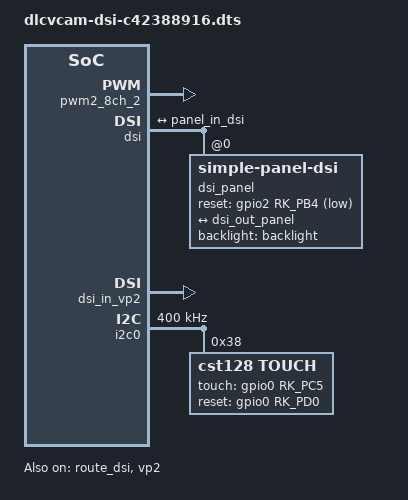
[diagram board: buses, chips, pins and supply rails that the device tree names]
/********************************************************************
 * SPDX-License-Identifier: (GPL-2.0+ OR MIT)
 * 
 * Copyright (c) 2023 Rockchip Electronics Co., Ltd.
 * Copyright (c) 2026 LCKFB <lckfb@sz-jlc.com>
 *********************************************************************
 * Wiki (Chinese): https://wiki.lckfb.com/
 * Wiki (English): https://wiki.lckfb.com/en/
 *********************************************************************/
/dts-v1/;
/plugin/;

#include <dt-bindings/usb/pd.h>
#include <dt-bindings/gpio/gpio.h>
#include <dt-bindings/pwm/pwm.h>
#include <dt-bindings/pinctrl/rockchip.h>
#include <dt-bindings/input/linux-event-codes.h>
#include <dt-bindings/display/drm_mipi_dsi.h>
#include <dt-bindings/display/rockchip_vop.h>
#include <dt-bindings/sensor-dev.h>
#include <dt-bindings/interrupt-controller/irq.h>

/ {
/*-----------------------------------------------------------
 * PWM controller node
 * pwm2_8ch_2: Multi-channel PWM, backlight control
 * status: enable
 * pinctrl-0: Bind PWM output pins
 *-----------------------------------------------------------*/
	fragment@0 {
		target = <&pwm2_8ch_2>;
		
		__overlay__ {
			status = "okay";
			pinctrl-0 = <&pwm2m3_ch2>;
		};
	};

/*-----------------------------------------------------------
 * MIPI DSI display interface main node
 *-----------------------------------------------------------*/
	fragment@1 {
		target = <&dsi>;
		
		__overlay__ {

			status = "okay";
			// rockchip,lane-rate = <500>;
			dsi_panel: panel@0 {
				status = "okay";
				compatible = "simple-panel-dsi";
				reg = <0>;
				backlight = <&backlight>;
				// power-supply = <&mipi_dsi_power>;
				reset-gpios = <&gpio2 RK_PB4 GPIO_ACTIVE_LOW>;
				bpc = <8>;

				reset-delay-ms = <200>;
				enable-delay-ms = <100>;
				prepare-delay-ms = <20>;
				unprepare-delay-ms = <20>;
				disable-delay-ms = <20>;
				init-delay-ms = <120>;

				dsi,flags = <(MIPI_DSI_MODE_VIDEO | MIPI_DSI_MODE_VIDEO_BURST |
					MIPI_DSI_MODE_LPM  )>;
				dsi,format = <MIPI_DSI_FMT_RGB888>;
				dsi,lanes  = <2>;

				panel-init-sequence = [
					// init code
					05 78 01 01
					05 78 01 11
					39 0A 06 FF 77 01 00 00 11
					15 0A 02 D1 11
					15 0A 02 55 B0 // 80 90 b0
					39 0A 06 FF 77 01 00 00 10
					39 0A 03 C0 63 00
					39 0A 03 C1 09 02
					39 0A 03 C2 37 08
					15 0A 02 C7 00 // x-dir rotate 0:0x00,rotate 180:0x04
					15 0A 02 CC 38
					39 0A 11 B0 00 11 19 0C 10 06 07 0A 09 22 04 10 0E 28 30 1C
					39 6E 11 B1 00 12 19 0D 10 04 06 07 08 23 04 12 11 28 30 1C
					39 0A 06 FF 77 01 00 00 11 // enable  bk fun of  command 2  BK1
					15 0A 02 B0 4D
					15 0A 02 B1 60 // 0x56  0x4a  0x5b
					15 0A 02 B2 07
					15 6E 02 B3 80
					15 0A 02 B5 47
					15 0A 02 B7 8A
					15 0A 02 B8 21
					15 0A 02 C1 78
					15 0A 02 C2 78
					15 0A 02 D0 88
					39 0A 04 E0 00 00 02
					39 0A 0C E1 01 A0 03 A0 02 A0 04 A0 00 44 44
					39 0A 0D E2 00 00 00 00 00 00 00 00 00 00 00 00
					39 0A 05 E3 00 00 33 33
					39 0A 03 E4 44 44
					39 0A 11 E5 01 26 A0 A0 03 28 A0 A0 05 2A A0 A0 07 2C A0 A0
					39 0A 05 E6 00 00 33 33
					39 0A 03 E7 44 44
					39 0A 11 E8 02 26 A0 A0 04 28 A0 A0 06 2A A0 A0 08 2C A0 A0
					39 0A 08 EB 00 01 E4 E4 44 00 40
					39 0A 11 ED FF F7 65 4F 0B A1 CF FF FF FC 1A B0 F4 56 7F FF
					15 0A 02 EE 42 // missing?
					39 0A 06 FF 77 01 00 00 00
					15 0A 02 36 00 //U&D  Y-DIR rotate 0:0x00,rotate 180:0x10
					15 0A 02 3A 55
					05 78 01 11           
					05 14 01 29		
				];

				panel-exit-sequence = [
					05 00 01 28
					05 00 01 10
				];

				disp_timings0: display-timings {
					native-mode = <&dsi_timing0>;
					dsi_timing0: timing0 {

						clock-frequency = <30816000>; // (480+50+60+10)*(800+20+34+2)*60

						hactive = <480>;
						hfront-porch = <50>;
						hback-porch = <60>;
						hsync-len = <10>;

						vactive = <800>;
						vfront-porch = <20>;
						vback-porch = <34>;
						vsync-len = <2>;

						hsync-active = <0>;
						vsync-active = <0>;
						de-active = <0>;
						pixelclk-active = <0>;

						swap-rb = <0>;
						swap-rg = <0>;
						swap-gb = <0>;
					};
				};

				ports {
					#address-cells = <1>;
					#size-cells = <0>;

					port@0 {
						reg = <0>;
						panel_in_dsi: endpoint {
							remote-endpoint = <&dsi_out_panel>;
						};
					};
				};
			};

			ports {
				#address-cells = <1>;
				#size-cells = <0>;

				port@1 {
					reg = <1>;
					dsi_out_panel: endpoint {
						remote-endpoint = <&panel_in_dsi>;
					};
				};
			};
		};
	};

/*-----------------------------------------------------------
 * DSI display routing node
 * route_dsi: Display video channel routing, VP2 output connected to DSI
 *-----------------------------------------------------------*/
	fragment@2 {
		target = <&route_dsi>;
		
		__overlay__ {
			status = "okay";
			connect = <&vp2_out_dsi>;
		};
	};

/*-----------------------------------------------------------
 * DSI display channel configuration description
 * dsi_in_vp0: Supports up to 4K@120Hz (main channel)
 * dsi_in_vp1: Supports up to 2560x1600@60Hz (secondary channel)
 * dsi_in_vp2: Supports up to 1920x1080@60Hz (third channel)
 * Enable the required channel based on actual needs to save resources
 * dsi_in_vopl: VOPL Lite video pipeline, for special purposes
 *-----------------------------------------------------------*/
	fragment@3 {
		target = <&dsi_in_vp0>;
		__overlay__ {
			status = "disabled";
		};
	};
	fragment@4 {
		target = <&dsi_in_vp1>;
		__overlay__ {
			status = "disabled";
		};
	};
	fragment@5 {
		target = <&dsi_in_vp2>;
		__overlay__ {
			status = "okay";
		};
	};
	fragment@6 {
		target = <&dsi_in_vopl>;
		__overlay__ {
			status = "disabled"; // Disable third display channel
		};
	};

/*-----------------------------------------------------------
 * VP2 video channel node
 * status: Enable VP2 as the video source for DSI
 *-----------------------------------------------------------*/
	fragment@7 {
		target = <&vp2>;
		__overlay__ {
			status = "okay";
		};
	};

/*-----------------------------------------------------------
 * Touch node
 *-----------------------------------------------------------*/
	fragment@8 {
		target = <&i2c0>;
		__overlay__ {

			pinctrl-names = "default";
			pinctrl-0 = <&i2c0m1_xfer>;
			clock-frequency = <400000>;
			status = "okay";

			cst128@38 {
				compatible = "cst128,touch";
				reg = <0x38>;
				tp-size = <89>;
				max-x = <480>;
				max-y = <800>;
				touch-gpio = <&gpio0 RK_PC5 IRQ_TYPE_LEVEL_LOW>;
				reset-gpio = <&gpio0 RK_PD0 GPIO_ACTIVE_HIGH>;
			};
		};
	};
};




